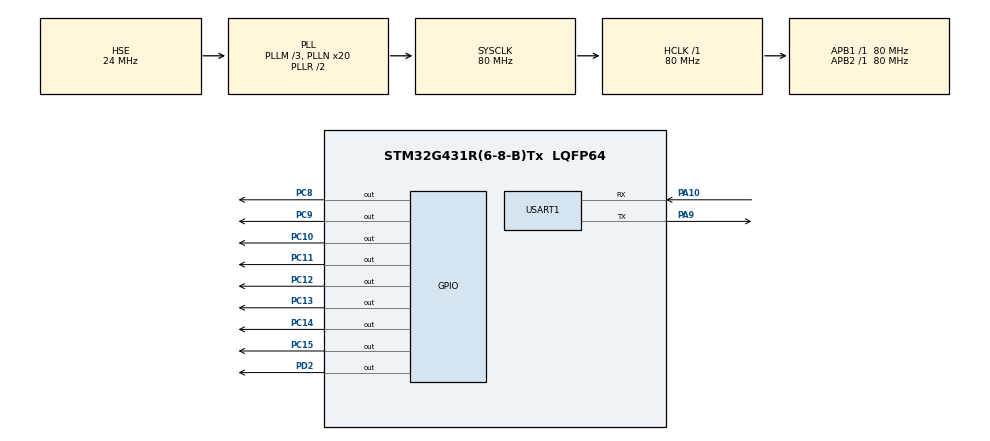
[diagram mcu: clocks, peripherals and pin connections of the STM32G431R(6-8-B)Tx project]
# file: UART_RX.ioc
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Dma.Request0=USART1_RX
Dma.Request1=USART1_TX
Dma.USART1_RX.0.Direction=DMA_PERIPH_TO_MEMORY
Dma.USART1_RX.0.EventEnable=DISABLE
Dma.USART1_RX.0.Instance=DMA1_Channel1
Dma.USART1_RX.0.MemDataAlignment=DMA_MDATAALIGN_BYTE
Dma.USART1_RX.0.MemInc=DMA_MINC_ENABLE
Dma.USART1_RX.0.Mode=DMA_NORMAL
Dma.USART1_RX.0.PeriphDataAlignment=DMA_PDATAALIGN_BYTE
Dma.USART1_RX.0.PeriphInc=DMA_PINC_DISABLE
Dma.USART1_RX.0.Polarity=HAL_DMAMUX_REQ_GEN_RISING
Dma.USART1_RX.0.Priority=DMA_PRIORITY_LOW
Dma.USART1_RX.0.RequestNumber=1
Dma.USART1_RX.0.SignalID=NONE
Dma.USART1_RX.0.SyncEnable=DISABLE
Dma.USART1_RX.0.SyncPolarity=HAL_DMAMUX_SYNC_NO_EVENT
Dma.USART1_RX.0.SyncRequestNumber=1
Dma.USART1_RX.0.SyncSignalID=NONE
Dma.USART1_TX.1.Direction=DMA_MEMORY_TO_PERIPH
Dma.USART1_TX.1.EventEnable=DISABLE
Dma.USART1_TX.1.Instance=DMA1_Channel2
Dma.USART1_TX.1.MemDataAlignment=DMA_MDATAALIGN_BYTE
Dma.USART1_TX.1.MemInc=DMA_MINC_ENABLE
Dma.USART1_TX.1.Mode=DMA_NORMAL
Dma.USART1_TX.1.PeriphDataAlignment=DMA_PDATAALIGN_BYTE
Dma.USART1_TX.1.PeriphInc=DMA_PINC_DISABLE
Dma.USART1_TX.1.Polarity=HAL_DMAMUX_REQ_GEN_RISING
Dma.USART1_TX.1.Priority=DMA_PRIORITY_LOW
Dma.USART1_TX.1.RequestNumber=1
Dma.USART1_TX.1.SignalID=NONE
Dma.USART1_TX.1.SyncEnable=DISABLE
Dma.USART1_TX.1.SyncPolarity=HAL_DMAMUX_SYNC_NO_EVENT
Dma.USART1_TX.1.SyncRequestNumber=1
Dma.USART1_TX.1.SyncSignalID=NONE
Mcu.Family=STM32G4
Mcu.Name=STM32G431R(6-8-B)Tx
Mcu.Package=LQFP64
NVIC.DMA1_Channel1_IRQn=true\:0\:0\:false\:false\:true\:false\:true\:true
NVIC.DMA1_Channel2_IRQn=true\:0\:0\:false\:false\:true\:false\:true\:true
NVIC.PriorityGroup=NVIC_PRIORITYGROUP_4
NVIC.USART1_IRQn=true\:1\:0\:true\:false\:true\:true\:true\:true
PA10.Mode=Asynchronous
PA10.Signal=USART1_RX
PA13.Mode=Serial_Wire
PA13.Signal=SYS_JTMS-SWDIO
PA14.Mode=Serial_Wire
PA14.Signal=SYS_JTCK-SWCLK
PA9.Mode=Asynchronous
PA9.Signal=USART1_TX
PC10.Signal=GPIO_Output
PC11.Signal=GPIO_Output
PC12.Signal=GPIO_Output
PC13.Signal=GPIO_Output
PC14-OSC32_IN.Signal=GPIO_Output
PC15-OSC32_OUT.Signal=GPIO_Output
PC8.Signal=GPIO_Output
PC9.Signal=GPIO_Output
PD2.Signal=GPIO_Output
PF0-OSC_IN.Mode=HSE-External-Oscillator
PF0-OSC_IN.Signal=RCC_OSC_IN
PF1-OSC_OUT.Mode=HSE-External-Oscillator
PF1-OSC_OUT.Signal=RCC_OSC_OUT
ProjectManager.HeapSize=0x200
ProjectManager.StackSize=0x400
ProjectManager.TargetToolchain=MDK-ARM V5.32
RCC.ADC12Freq_Value=80000000
RCC.AHBFreq_Value=80000000
RCC.APB1Freq_Value=80000000
RCC.APB1TimFreq_Value=80000000
RCC.APB2Freq_Value=80000000
RCC.APB2TimFreq_Value=80000000
RCC.CortexFreq_Value=80000000
RCC.EXTERNAL_CLOCK_VALUE=12288000
RCC.HCLKFreq_Value=80000000
RCC.HSE_VALUE=24000000
RCC.HSI48_VALUE=48000000
RCC.HSI_VALUE=16000000
RCC.LSE_VALUE=32768
RCC.PLLM=RCC_PLLM_DIV3
RCC.PLLN=20
RCC.PLLSourceVirtual=RCC_PLLSOURCE_HSE
RCC.SYSCLKFreq_VALUE=80000000
RCC.SYSCLKSource=RCC_SYSCLKSOURCE_PLLCLK
RCC.USBFreq_Value=80000000
RCC.VCOOutputFreq_Value=160000000
USART1.VirtualMode-Asynchronous=VM_ASYNC
VP_SYS_VS_DBSignals.Mode=DisableDeadBatterySignals
board=custom

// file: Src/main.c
/* USER CODE BEGIN Header */
/**
  ******************************************************************************
  * @file           : main.c
  * @brief          : Main program body
  ******************************************************************************
  * @attention
  *
  * Copyright (c) 2024 STMicroelectronics.
  * All rights reserved.
  *
  * This software is licensed under terms that can be found in the LICENSE file
  * in the root directory of this software component.
  * If no LICENSE file comes with this software, it is provided AS-IS.
  *
  ******************************************************************************
  */
/* USER CODE END Header */
#include "main.h"
#include "dma.h"
#include "usart.h"
#include "gpio.h"

/* USER CODE BEGIN Includes */
#include "stdio.h"
#include "string.h"
/* USER CODE END Includes */

/* USER CODE BEGIN PD */
void LED_TASK()
{
   HAL_GPIO_TogglePin(GPIOC,GPIO_PIN_All);
   HAL_GPIO_WritePin(GPIOD,GPIO_PIN_2,1);

}
/* USER CODE END PD */

void SystemClock_Config(void);
/* USER CODE BEGIN PFP */
uint8_t RX_BUFF[20];
uint8_t RX_stand;
uint8_t stc;
uint8_t RX_start;
/* USER CODE END PFP */

int main(void)
{

  /* MCU Configuration--------------------------------------------------------*/

  /* Reset of all peripherals, Initializes the Flash interface and the Systick. */
  HAL_Init();

  /* Configure the system clock */
  SystemClock_Config();

  /* Initialize all configured peripherals */
  MX_GPIO_Init();
  MX_DMA_Init();
  MX_USART1_UART_Init();
  /* USER CODE BEGIN 2 */
   __HAL_UART_ENABLE_IT(&huart1,UART_IT_RXNE);
	 HAL_GPIO_WritePin(GPIOD,GPIO_PIN_2,1);
  /* USER CODE END 2 */

  /* Infinite loop */
  /* USER CODE BEGIN WHILE */
  while (1)
  {
//		if(RX_start==1)
//		{
//		   if(RX_BUFF[0]=='Z')
//			 {
//			 LED_TASK();
//			  if(RX_BUFF[1]=='X')
//			 {
//			     LED_TASK();
//			     if(RX_BUFF[2]=='1')
//							 {
//							 LED_TASK();
//
//							 }
//			  }
//			 }
//		RX_start=0;
//		}

		HAL_Delay(500);
    /* USER CODE END WHILE */

  }
}

void SystemClock_Config(void)
{
  RCC_OscInitTypeDef RCC_OscInitStruct = {0};
  RCC_ClkInitTypeDef RCC_ClkInitStruct = {0};

  /** Configure the main internal regulator output voltage
  */
  HAL_PWREx_ControlVoltageScaling(PWR_REGULATOR_VOLTAGE_SCALE1);

  /** Initializes the RCC Oscillators according to the specified parameters
  * in the RCC_OscInitTypeDef structure.
  */
  RCC_OscInitStruct.OscillatorType = RCC_OSCILLATORTYPE_HSE;
  RCC_OscInitStruct.HSEState = RCC_HSE_ON;
  RCC_OscInitStruct.PLL.PLLState = RCC_PLL_ON;
  RCC_OscInitStruct.PLL.PLLSource = RCC_PLLSOURCE_HSE;
  RCC_OscInitStruct.PLL.PLLM = RCC_PLLM_DIV3;
  RCC_OscInitStruct.PLL.PLLN = 20;
  RCC_OscInitStruct.PLL.PLLP = RCC_PLLP_DIV2;
  RCC_OscInitStruct.PLL.PLLQ = RCC_PLLQ_DIV2;
  RCC_OscInitStruct.PLL.PLLR = RCC_PLLR_DIV2;
  if (HAL_RCC_OscConfig(&RCC_OscInitStruct) != HAL_OK)
  {
    Error_Handler();
  }

  /** Initializes the CPU, AHB and APB buses clocks
  */
  RCC_ClkInitStruct.ClockType = RCC_CLOCKTYPE_HCLK|RCC_CLOCKTYPE_SYSCLK
                              |RCC_CLOCKTYPE_PCLK1|RCC_CLOCKTYPE_PCLK2;
  RCC_ClkInitStruct.SYSCLKSource = RCC_SYSCLKSOURCE_PLLCLK;
  RCC_ClkInitStruct.AHBCLKDivider = RCC_SYSCLK_DIV1;
  RCC_ClkInitStruct.APB1CLKDivider = RCC_HCLK_DIV1;
  RCC_ClkInitStruct.APB2CLKDivider = RCC_HCLK_DIV1;

  if (HAL_RCC_ClockConfig(&RCC_ClkInitStruct, FLASH_LATENCY_2) != HAL_OK)
  {
    Error_Handler();
  }
}

/* USER CODE BEGIN 4 */

void HAL_UART_RxCpltCallback(UART_HandleTypeDef *huart)
{

    if(huart->Instance == USART1)
    { RX_BUFF[RX_stand]=(uint8_t)(huart1.Instance->RDR&(uint8_t)0X00ff);
//			HAL_UART_Receive_IT(&huart1, &stc,1);
			RX_stand++;
			__HAL_UART_CLEAR_FLAG(&huart1,UART_FLAG_RXNE);
      HAL_GPIO_TogglePin(GPIOC,GPIO_PIN_All);
       HAL_UART_Transmit_DMA(&huart1,RX_BUFF,1);
//		   memset(RX_BUFF,0,1);
			if(RX_stand==5)
			{

			RX_stand=0;

			}

    }
}

/* USER CODE END 4 */

void Error_Handler(void)
{
  __disable_irq();
  while (1)
  {
  }
}
